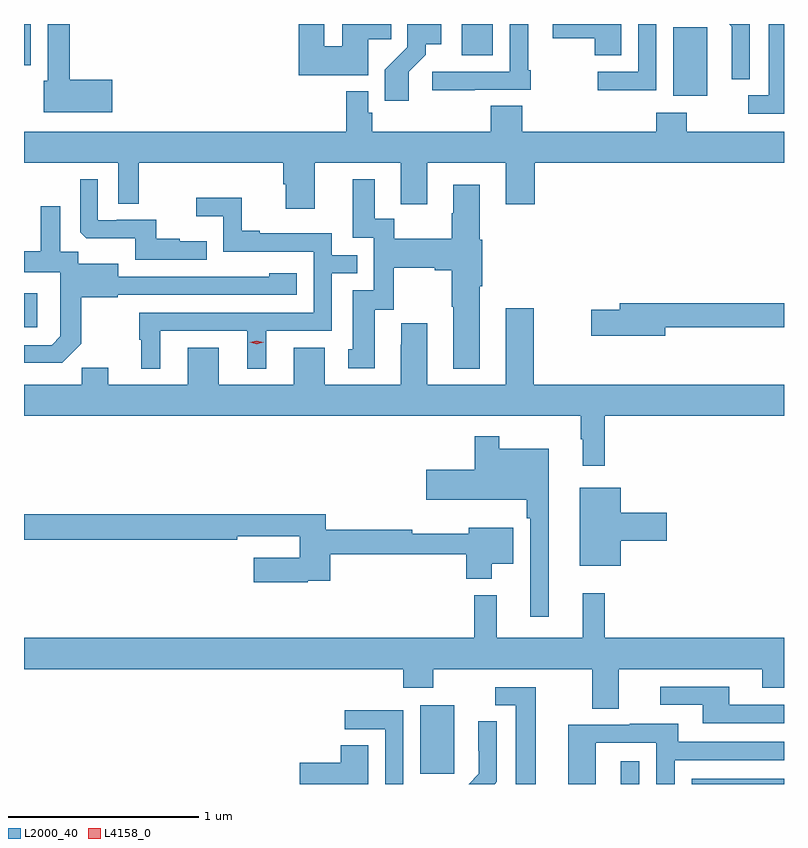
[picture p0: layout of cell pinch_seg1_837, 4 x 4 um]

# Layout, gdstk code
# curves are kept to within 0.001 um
import gdstk
lib = gdstk.Library(unit=1e-6, precision=1e-09)
def R(c, l, rs):  # rectangles x0, y0, x1, y1
    for r in rs: c.add(gdstk.rectangle(r[:2], r[2:], *l))
def P(c, l, *ps):  # polygons
    for p in ps: c.add(gdstk.Polygon(p, *l))
L2000_40 = (2000, 40)
L4158_0 = (4158, 0)

pinch_seg1_837 = lib.new_cell('pinch_seg1_837')
R(pinch_seg1_837, L2000_40, [(469.631,515.163,469.728,515.284), (470.004,515.163,470.49,515.19), (468.575,515.217,468.754,515.578), (466.49,517.566,466.561,517.746), (469.907,518.786,470.086,519.147), (466.49,518.946,466.525,519.163), (468.794,518.998,468.958,519.163)])
P(pinch_seg1_837, L2000_40, [(470.49,519.163),(470.411,519.163),(470.411,518.787),(470.301,518.787),(470.301,518.691),(470.49,518.691)],
  [(469.818,519.163),(469.722,519.163),(469.722,518.913),(469.509,518.913),(469.509,518.815),(469.818,518.815)],
  [(470.31,519.163),(470.202,519.163),(470.216,519.149),(470.216,519.026),(470.214,519.026),(470.214,518.872),(470.31,518.872)],
  [(468.863,518.817),(469.156,518.817),(469.156,518.92),(469.143,518.92),(469.143,519.163),(469.047,519.163),(469.047,518.913),(468.639,518.913),(468.639,518.815),(468.863,518.815)],
  [(469.633,519.163),(469.272,519.163),(469.272,519.089),(469.495,519.089),(469.495,518.998),(469.633,518.998)],
  [(468.301,519.082),(468.422,519.082),(468.422,519.163),(468.164,519.163),(468.164,519.047),(468.07,519.047),(468.07,519.163),(467.936,519.163),(467.936,518.894),(468.301,518.894)],
  [(468.514,518.911),(468.604,519.001),(468.604,519.056),(468.685,519.056),(468.685,519.163),(468.507,519.163),(468.507,519.041),(468.388,518.922),(468.388,518.76),(468.514,518.76)],
  [(466.954,518.87),(466.73,518.87),(466.73,519.163),(466.614,519.163),(466.614,518.865),(466.595,518.865),(466.595,518.699),(466.954,518.699)],
  [(468.019,518.432),(468.473,518.432),(468.473,518.214),(468.613,518.214),(468.613,518.432),(469.025,518.432),(469.025,518.214),(469.178,518.214),(469.178,518.432),(470.49,518.432),(470.49,518.596),(469.977,518.596),(469.977,518.695),(469.817,518.695),(469.817,518.596),(469.112,518.596),(469.112,518.732),(468.947,518.732),(468.947,518.596),(468.323,518.596),(468.323,518.697),(468.303,518.697),(468.303,518.809),(468.187,518.809),(468.187,518.596),(466.49,518.596),(466.49,518.432),(466.986,518.432),(466.986,518.218),(467.095,518.218),(467.095,518.432),(467.855,518.432),(467.855,518.319),(467.867,518.319),(467.867,518.19),(468.019,518.19)],
  [(468.889,517.784),(468.902,517.784),(468.902,518.028),(468.889,518.028),(468.889,518.317),(468.749,518.317),(468.749,518.166),(468.742,518.166),(468.742,518.032),(468.439,518.032),(468.439,518.138),(468.337,518.138),(468.337,518.347),(468.221,518.347),(468.221,518.037),(468.33,518.037),(468.33,517.761),(468.221,517.761),(468.221,517.452),(468.197,517.452),(468.197,517.35),(468.337,517.35),(468.337,517.658),(468.435,517.658),(468.435,517.88),(468.653,517.88),(468.653,517.868),(468.742,517.868),(468.742,517.675),(468.749,517.675),(468.749,517.349),(468.889,517.349)],
  [(467.453,518.02),(467.309,518.02),(467.309,518.032),(467.186,518.032),(467.186,518.133),(466.978,518.133),(466.978,518.13),(466.878,518.13),(466.878,518.347),(466.785,518.347),(466.785,518.067),(466.817,518.036),(467.076,518.036),(467.076,517.923),(467.453,517.923)],
  [(467.206,517.548),(467.666,517.548),(467.666,517.349),(467.764,517.349),(467.764,517.548),(468.111,517.548),(468.111,517.851),(468.245,517.851),(468.245,517.947),(468.111,517.947),(468.111,518.061),(467.731,518.061),(467.731,518.074),(467.637,518.074),(467.637,518.249),(467.397,518.249),(467.397,518.15),(467.538,518.15),(467.538,517.965),(468.015,517.965),(468.015,517.644),(467.097,517.644),(467.097,517.5),(467.108,517.5),(467.108,517.349),(467.206,517.349)],
  [(466.791,517.479),(466.791,517.725),(466.983,517.725),(466.983,517.737),(467.926,517.737),(467.926,517.852),(467.781,517.852),(467.781,517.834),(466.987,517.833),(466.987,517.9),(466.776,517.9),(466.776,517.964),(466.681,517.964),(466.681,518.203),(466.577,518.203),(466.577,517.966),(466.49,517.966),(466.49,517.856),(466.68,517.856),(466.68,517.615),(466.682,517.615),(466.682,517.52),(466.635,517.473),(466.491,517.473),(466.491,517.379),(466.691,517.379)],
  [(469.864,517.566),(470.49,517.566),(470.49,517.694),(469.625,517.694),(469.625,517.658),(469.476,517.658),(469.476,517.523),(469.864,517.523)],
  [(469.547,517.1),(470.49,517.1),(470.49,517.264),(469.173,517.264),(469.173,517.666),(469.025,517.666),(469.025,517.264),(468.613,517.264),(468.613,517.588),(468.476,517.588),(468.476,517.475),(468.473,517.475),(468.473,517.264),(468.073,517.264),(468.073,517.459),(467.909,517.459),(467.909,517.264),(467.515,517.264),(467.515,517.459),(467.351,517.459),(467.351,517.264),(466.933,517.264),(466.933,517.355),(466.795,517.355),(466.795,517.264),(466.49,517.264),(466.49,517.1),(469.419,517.1),(469.419,516.977),(469.43,516.977),(469.43,516.837),(469.547,516.837)],
  [(469.252,516.928),(468.991,516.928),(468.991,516.994),(468.862,516.994),(468.862,516.817),(468.606,516.817),(468.606,516.659),(469.135,516.659),(469.135,516.563),(469.155,516.563),(469.155,516.042),(469.252,516.042)],
  [(469.63,516.443),(469.873,516.443),(469.873,516.59),(469.63,516.59),(469.63,516.721),(469.415,516.721),(469.415,516.311),(469.63,516.311)],
  [(467.984,516.233),(468.101,516.233),(468.101,516.371),(468.818,516.371),(468.818,516.242),(468.952,516.242),(468.952,516.323),(469.066,516.323),(469.066,516.511),(468.83,516.511),(468.83,516.481),(468.534,516.481),(468.534,516.5),(468.077,516.5),(468.077,516.584),(466.49,516.584),(466.49,516.448),(467.612,516.448),(467.612,516.468),(467.941,516.468),(467.941,516.355),(467.7,516.355),(467.7,516.226),(467.984,516.226)],
  [(469.621,515.768),(470.375,515.768),(470.375,515.669),(470.49,515.669),(470.49,515.932),(469.547,515.932),(469.547,516.166),(469.43,516.166),(469.43,515.932),(468.977,515.932),(468.977,516.157),(468.859,516.157),(468.859,515.932),(466.49,515.932),(466.49,515.768),(468.485,515.768),(468.485,515.669),(468.645,515.669),(468.645,515.768),(469.481,515.768),(469.481,515.56),(469.621,515.56)],
  [(470.49,515.58),(470.203,515.58),(470.203,515.676),(469.839,515.676),(469.839,515.58),(470.063,515.58),(470.063,515.484),(470.49,515.484)],
  [(469.183,515.673),(468.969,515.673),(468.969,515.577),(469.079,515.577),(469.079,515.163),(469.183,515.163)],
  [(468.486,515.55),(468.177,515.55),(468.177,515.451),(468.39,515.451),(468.39,515.163),(468.486,515.163)],
  [(468.978,515.174),(468.978,515.492),(468.882,515.492),(468.882,515.338),(468.884,515.338),(468.884,515.216),(468.831,515.163),(468.967,515.163)],
  [(469.5,515.379),(469.818,515.379),(469.818,515.163),(469.914,515.163),(469.914,515.289),(470.49,515.289),(470.49,515.385),(469.933,515.385),(469.933,515.479),(469.679,515.479),(469.679,515.475),(469.355,515.475),(469.355,515.163),(469.5,515.163)],
  [(468.301,515.366),(468.158,515.366),(468.158,515.276),(467.94,515.276),(467.94,515.163),(468.301,515.163)])
P(pinch_seg1_837, L4158_0, [(467.715,517.478),(467.679,517.488),(467.679,517.488),(467.679,517.488),(467.715,517.497),(467.75,517.487),(467.751,517.487),(467.75,517.487)])

lib.write_gds('pinch_seg1_837.gds')
